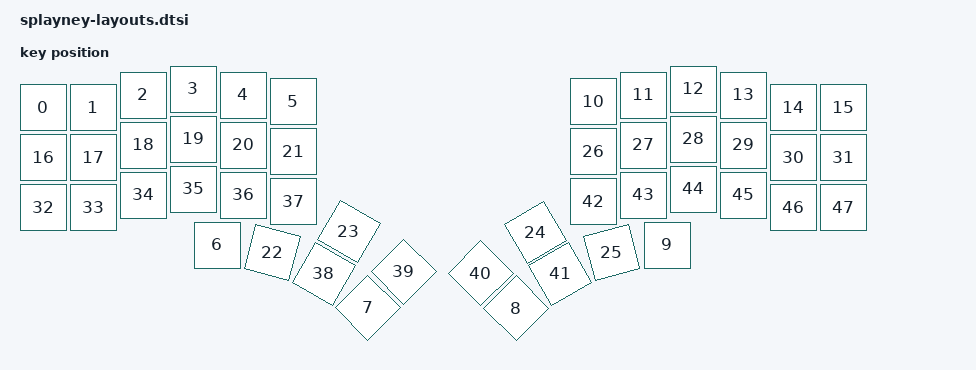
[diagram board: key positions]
/ {
    splayney_layout: splayney_layout {
        compatible = "zmk,physical-layout";
        display-name = "Splayney";

        // transform = <&default_transform>;
        // kscan = <&kscan0>;

        keys
            = <&key_physical_attrs 100 100    0  37     0     0     0>
            , <&key_physical_attrs 100 100  100  37     0     0     0>
            , <&key_physical_attrs 100 100  200  12     0     0     0>
            , <&key_physical_attrs 100 100  300   0     0     0     0>
            , <&key_physical_attrs 100 100  400  12     0     0     0>
            , <&key_physical_attrs 100 100  500  25     0     0     0>
            , <&key_physical_attrs 100 100  348 312     0   398   789>
            , <&key_physical_attrs 100 100  348 312  4500   398   789  100>

            , <&key_physical_attrs 100 100 1248 312 (-4500) 1300  789>
            , <&key_physical_attrs 100 100 1248 312     0     0     0>
            , <&key_physical_attrs 100 100 1100  25     0     0     0>
            , <&key_physical_attrs 100 100 1200  12     0     0     0>
            , <&key_physical_attrs 100 100 1300   0     0     0     0>
            , <&key_physical_attrs 100 100 1400  12     0     0     0>
            , <&key_physical_attrs 100 100 1500  37     0     0     0>
            , <&key_physical_attrs 100 100 1600  37     0     0     0>

            , <&key_physical_attrs 100 100    0 137     0     0     0>
            , <&key_physical_attrs 100 100  100 137     0     0     0>
            , <&key_physical_attrs 100 100  200 112     0     0     0>
            , <&key_physical_attrs 100 100  300 100     0     0     0>
            , <&key_physical_attrs 100 100  400 112     0     0     0>
            , <&key_physical_attrs 100 100  500 125     0     0     0>
            , <&key_physical_attrs 100 100  348 312  1500   398   789>
            , <&key_physical_attrs 100 100  348 312  3000   580   840  100>

            , <&key_physical_attrs 100 100 1248 312 (-3000) 1120  840  100>
            , <&key_physical_attrs 100 100 1248 312 (-1500) 1300  789>
            , <&key_physical_attrs 100 100 1100 125     0     0     0>
            , <&key_physical_attrs 100 100 1200 112     0     0     0>
            , <&key_physical_attrs 100 100 1300 100     0     0     0>
            , <&key_physical_attrs 100 100 1400 112     0     0     0>
            , <&key_physical_attrs 100 100 1500 137     0     0     0>
            , <&key_physical_attrs 100 100 1600 137     0     0     0>

            , <&key_physical_attrs 100 100    0 237     0     0     0>
            , <&key_physical_attrs 100 100  100 237     0     0     0>
            , <&key_physical_attrs 100 100  200 212     0     0     0>
            , <&key_physical_attrs 100 100  300 200     0     0     0>
            , <&key_physical_attrs 100 100  400 212     0     0     0>
            , <&key_physical_attrs 100 100  500 225     0     0     0>
            , <&key_physical_attrs 100 100  348 312  3000   398   789  100>
            , <&key_physical_attrs 100 100  348 312  4500   520   840  100>

            , <&key_physical_attrs 100 100 1248 312 (-4500) 1180  840  100>
            , <&key_physical_attrs 100 100 1248 312 (-3000) 1300  789  100>
            , <&key_physical_attrs 100 100 1100 225     0     0     0>
            , <&key_physical_attrs 100 100 1200 212     0     0     0>
            , <&key_physical_attrs 100 100 1300 200     0     0     0>
            , <&key_physical_attrs 100 100 1400 212     0     0     0>
            , <&key_physical_attrs 100 100 1500 237     0     0     0>
            , <&key_physical_attrs 100 100 1600 237     0     0     0>
            ;
    };

    splayney_position_map {
        compatible = "zmk,physical-layout-position-map";
        complete;

        twelve {
            physical-layout = <&splayney_layout>;
            positions
                = < 0  1  2  3  4  5  6  7  8  9 10 11 12 13 14 15>
                , <16 17 18 19 20 21 22 23 24 25 26 27 28 29 30 31>
                , <32 33 34 35 36 37 38 39 40 41 42 43 44 45 46 47>;
        };
    };
};
